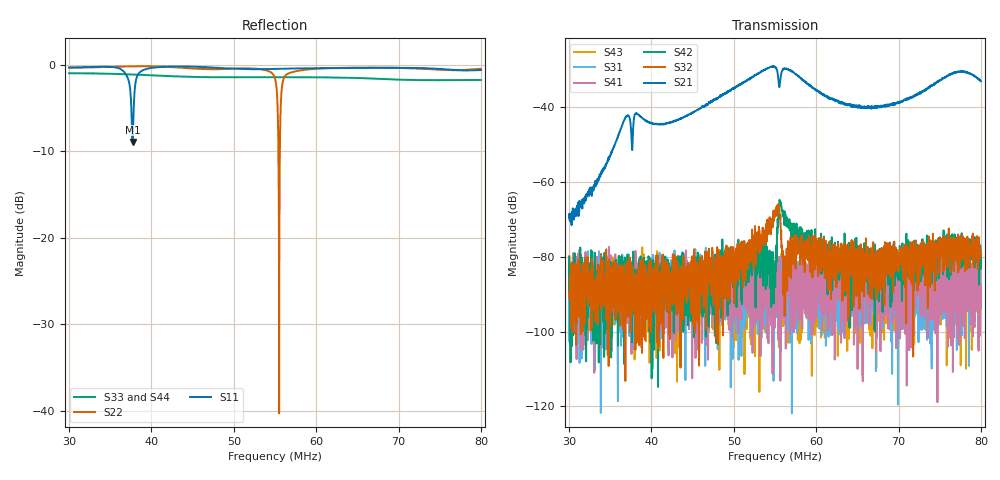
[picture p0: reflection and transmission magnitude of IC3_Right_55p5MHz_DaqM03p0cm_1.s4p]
#  HZ  S  DB  R  50.00
! Rohde & Schwarz Vector Network Analyzer
! Rohde-Schwarz,ZNB8-4Port,1311601044102961,2.82
! Created: UTC 2/13/2019, 12:14:18 PM
! freq[Hz]  db:S11  ang:S11  db:S12  ang:S12  db:S13  ang:S13  db:S14  ang:S14
!  db:S21  ang:S21  db:S22  ang:S22  db:S23  ang:S23  db:S24  ang:S24
!  db:S31  ang:S31  db:S32  ang:S32  db:S33  ang:S33  db:S34  ang:S34
!  db:S41  ang:S41  db:S42  ang:S42  db:S43  ang:S43  db:S44  ang:S44
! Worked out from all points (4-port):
!   2001 points, 30 MHz to 80 MHz, reference 50 ohm
!   strongest paths, dB at 30 MHz, 42.5 MHz, 55 MHz, 67.5 MHz, 80 MHz:
!     S21: -68.7, -43.9, -29.3, -39.8, -33.0
!     S32: -89.5, -88.8, -69.3, -78.6, -79.8
!     S42: -80.0, -87.5, -83.8, -82.1, -79.6
!     S41: -91.3, -86.1, -99.0, -89.1, -93.3
!     S31: -91.5, -86.8, -83.8, -86.5, -83.2
!     S43: -88.9, -92.2, -82.9, -81.7, -91.8
!   lowest |S11| = -8.9 dB at 37.7 MHz (marker M1), VSWR 2.12, Z = 96 - j26.9 ohm
!   |S11| at or under -10 dB: nowhere
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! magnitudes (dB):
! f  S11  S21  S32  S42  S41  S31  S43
! 30 MHz  -0.3  -68.7  -89.5  -80.0  -91.3  -91.5  -88.9
! 37.7 MHz  -8.9  -50.0  -90.0  -84.4  -95.4  -93.2  -89.9
! 51.08 MHz  -0.5  -33.7  -80.5  -83.5  -91.4  -91.0  -83.9
! 54.83 MHz  -0.5  -29.0  -69.2  -92.5  -88.2  -113.2  -88.3
! 55.7 MHz  -0.4  -31.8  -72.4  -66.5  -86.8  -88.3  -94.2
! 61.65 MHz  -0.3  -37.7  -80.2  -79.3  -94.6  -90.6  -80.0
! 80 MHz  -0.6  -33.0  -79.8  -79.6  -93.3  -83.2  -91.8
